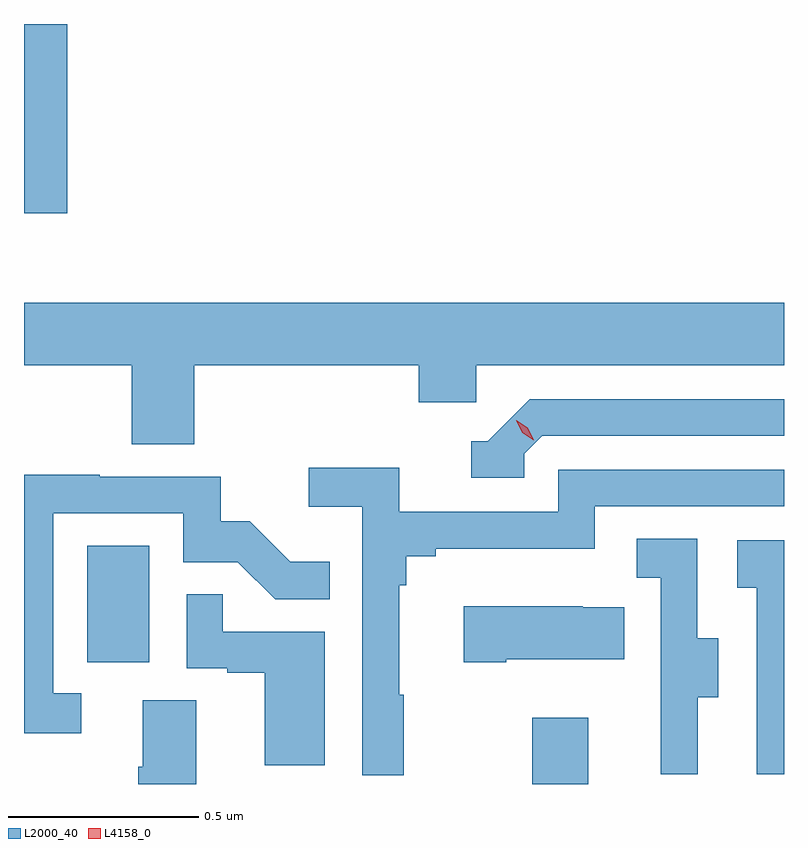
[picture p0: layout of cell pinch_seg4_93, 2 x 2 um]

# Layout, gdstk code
import gdstk
lib = gdstk.Library(unit=1e-6, precision=1e-09)
def R(c, l, rs):  # rectangles x0, y0, x1, y1
    for r in rs: c.add(gdstk.rectangle(r[:2], r[2:], *l))
def P(c, l, *ps):  # polygons
    for p in ps: c.add(gdstk.Polygon(p, *l))
L2000_40 = (2000, 40)
L4158_0 = (4158, 0)

pinch_seg4_93 = lib.new_cell('pinch_seg4_93')
R(pinch_seg4_93, L2000_40, [(1068.034,825.022,1068.181,825.196), (1066.862,825.342,1067.026,825.649), (1066.696,826.524,1066.81,827.022)])
P(pinch_seg4_93, L2000_40, [(1067.144,826.124),(1067.735,826.124),(1067.735,826.026),(1067.886,826.026),(1067.886,826.124),(1068.696,826.124),(1068.696,826.288),(1066.696,826.288),(1066.696,826.124),(1066.979,826.124),(1066.979,825.916),(1067.144,825.916)],
  [(1068.012,825.891),(1068.06,825.939),(1068.696,825.939),(1068.696,826.035),(1068.027,826.035),(1067.916,825.924),(1067.873,825.924),(1067.873,825.828),(1068.012,825.828)],
  [(1067.695,825.257),(1067.683,825.257),(1067.683,825.545),(1067.702,825.545),(1067.702,825.622),(1067.779,825.622),(1067.779,825.641),(1068.198,825.641),(1068.198,825.753),(1068.696,825.753),(1068.696,825.849),(1068.102,825.849),(1068.102,825.738),(1067.684,825.738),(1067.684,825.854),(1067.445,825.854),(1067.445,825.752),(1067.586,825.752),(1067.586,825.045),(1067.695,825.045)],
  [(1066.846,825.261),(1066.773,825.261),(1066.773,825.735),(1067.115,825.735),(1067.115,825.606),(1067.259,825.606),(1067.357,825.508),(1067.501,825.508),(1067.501,825.607),(1067.397,825.607),(1067.29,825.714),(1067.214,825.714),(1067.214,825.831),(1066.895,825.831),(1066.895,825.836),(1066.696,825.836),(1066.696,825.156),(1066.846,825.156)],
  [(1068.469,825.25),(1068.523,825.25),(1068.523,825.405),(1068.468,825.405),(1068.468,825.668),(1068.309,825.668),(1068.309,825.565),(1068.372,825.565),(1068.372,825.261),(1068.371,825.261),(1068.371,825.048),(1068.469,825.048)],
  [(1068.696,825.663),(1068.573,825.663),(1068.573,825.539),(1068.624,825.539),(1068.624,825.048),(1068.696,825.048)],
  [(1067.488,825.423),(1067.219,825.423),(1067.219,825.521),(1067.124,825.521),(1067.124,825.327),(1067.231,825.327),(1067.231,825.315),(1067.33,825.315),(1067.33,825.072),(1067.488,825.072)],
  [(1067.965,825.35),(1068.275,825.35),(1068.275,825.487),(1068.167,825.487),(1068.167,825.49),(1067.853,825.49),(1067.853,825.343),(1067.965,825.343)],
  [(1067.149,825.242),(1067.009,825.242),(1067.009,825.068),(1066.997,825.068),(1066.997,825.022),(1067.149,825.022)])
P(pinch_seg4_93, L4158_0, [(1068.037,825.926),(1068.007,825.946),(1067.991,825.979),(1067.991,825.979),(1067.992,825.979),(1068.022,825.959),(1068.037,825.926),(1068.037,825.926)])

lib.write_gds('pinch_seg4_93.gds')
